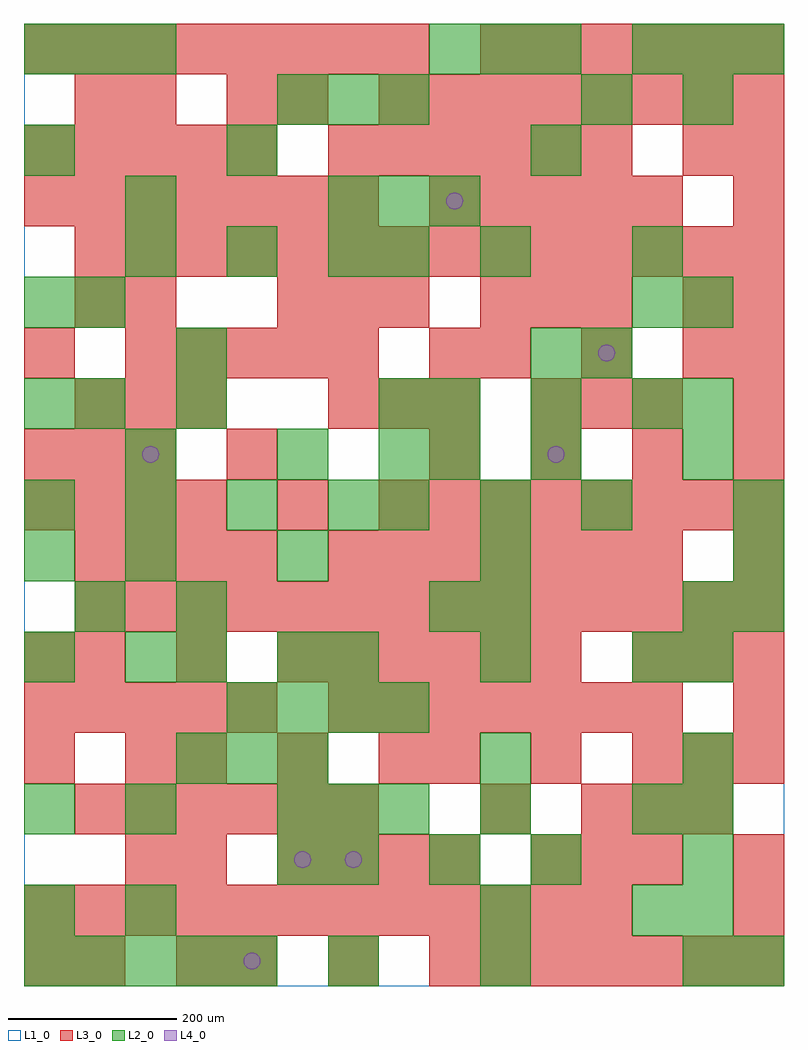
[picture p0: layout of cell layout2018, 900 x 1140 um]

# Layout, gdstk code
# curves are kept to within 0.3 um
import gdstk
lib = gdstk.Library(unit=1e-6, precision=1e-09)
def R(c, l, rs):  # rectangles x0, y0, x1, y1
    for r in rs: c.add(gdstk.rectangle(r[:2], r[2:], *l))
def A(c, l, x, y, w, h, nx, ny, dx, dy):  # array of equal rectangles
    R(c, l, [(x+i*dx, y+j*dy, x+i*dx+w, y+j*dy+h) for i in range(nx) for j in range(ny)])
def P(c, l, *ps):  # polygons
    for p in ps: c.add(gdstk.Polygon(p, *l))
L1_0 = (1, 0)
L2_0 = (2, 0)
L3_0 = (3, 0)
L4_0 = (4, 0)

layout2018 = lib.new_cell('layout2018')
R(layout2018, L1_0, [(0,0,900,1140)])
A(layout2018, L2_0, 0, 0, 60, 60, 5, 1, 60, 0)
A(layout2018, L2_0, 780, 0, 60, 60, 1, 5, 0, 60)
A(layout2018, L2_0, 360, 120, 60, 60, 3, 1, 120, 0)
A(layout2018, L2_0, 300, 180, 60, 60, 3, 2, 60, 840)
A(layout2018, L2_0, 180, 240, 60, 60, 3, 1, 60, 0)
A(layout2018, L2_0, 240, 300, 60, 60, 4, 1, 60, 0)
A(layout2018, L2_0, 120, 360, 60, 60, 1, 3, 0, 120)
A(layout2018, L2_0, 300, 360, 60, 60, 1, 3, 0, 120)
A(layout2018, L2_0, 360, 360, 60, 60, 3, 1, 180, 0)
A(layout2018, L2_0, 840, 420, 60, 60, 1, 3, 0, 60)
A(layout2018, L2_0, 0, 540, 60, 60, 4, 1, 120, 0)
A(layout2018, L2_0, 420, 540, 60, 60, 3, 1, 120, 0)
A(layout2018, L2_0, 480, 660, 60, 60, 3, 1, 120, 0)
A(layout2018, L2_0, 120, 840, 60, 60, 3, 1, 120, 0)
A(layout2018, L2_0, 360, 900, 60, 60, 3, 1, 60, 0)
A(layout2018, L2_0, 0, 1080, 60, 60, 3, 1, 60, 0)
A(layout2018, L2_0, 480, 1080, 60, 60, 3, 1, 60, 0)
A(layout2018, L2_0, 720, 1080, 60, 60, 3, 1, 60, 0)
R(layout2018, L2_0, [(360,0,420,60), (540,0,600,60), (840,0,900,60), (0,60,60,120), (120,60,180,120), (540,60,600,120), (720,60,780,120), (300,120,360,180), (0,180,60,240), (120,180,180,240), (540,180,600,240), (720,180,780,240), (540,240,600,300), (0,360,60,420), (180,360,240,420), (780,360,840,420), (60,420,120,480), (180,420,240,480), (480,420,540,480), (540,420,600,480), (780,420,840,480), (0,480,60,540), (540,480,600,540), (420,600,480,660), (480,600,540,660), (600,600,660,660), (780,600,840,660), (0,660,60,720), (60,660,120,720), (180,660,240,720), (420,660,480,720), (780,660,840,720), (180,720,240,780), (600,720,660,780), (660,720,720,780), (0,780,60,840), (60,780,120,840), (720,780,780,840), (780,780,840,840), (420,840,480,900), (540,840,600,900), (720,840,780,900), (120,900,180,960), (0,960,60,1020), (240,960,300,1020), (600,960,660,1020), (660,1020,720,1080), (780,1020,840,1080)])
A(layout2018, L3_0, 240, 0, 60, 60, 3, 1, 120, 0)
A(layout2018, L3_0, 540, 0, 60, 60, 6, 2, 60, 1080)
A(layout2018, L3_0, 0, 60, 60, 60, 12, 1, 60, 0)
A(layout2018, L3_0, 300, 120, 60, 60, 4, 1, 60, 0)
A(layout2018, L3_0, 600, 120, 60, 60, 3, 2, 60, 540)
A(layout2018, L3_0, 60, 180, 60, 60, 6, 1, 60, 0)
A(layout2018, L3_0, 660, 180, 60, 60, 3, 1, 60, 0)
A(layout2018, L3_0, 180, 240, 60, 60, 3, 1, 120, 0)
A(layout2018, L3_0, 480, 240, 60, 60, 3, 1, 120, 0)
A(layout2018, L3_0, 0, 300, 60, 60, 5, 2, 60, 660)
A(layout2018, L3_0, 360, 300, 60, 60, 7, 2, 60, 180)
A(layout2018, L3_0, 840, 300, 60, 60, 1, 3, 0, 180)
A(layout2018, L3_0, 60, 360, 60, 60, 3, 1, 120, 0)
A(layout2018, L3_0, 360, 360, 60, 60, 5, 1, 60, 0)
A(layout2018, L3_0, 720, 360, 60, 60, 3, 1, 60, 0)
A(layout2018, L3_0, 60, 420, 60, 60, 14, 2, 60, 420)
A(layout2018, L3_0, 60, 480, 60, 60, 4, 1, 60, 0)
A(layout2018, L3_0, 0, 540, 60, 60, 4, 1, 60, 0)
A(layout2018, L3_0, 420, 540, 60, 60, 8, 2, 60, 480)
A(layout2018, L3_0, 0, 600, 60, 60, 3, 1, 60, 0)
A(layout2018, L3_0, 480, 600, 60, 60, 4, 1, 120, 0)
A(layout2018, L3_0, 60, 660, 60, 60, 3, 1, 60, 0)
A(layout2018, L3_0, 360, 660, 60, 60, 3, 1, 60, 0)
A(layout2018, L3_0, 120, 720, 60, 60, 5, 1, 60, 0)
A(layout2018, L3_0, 540, 720, 60, 60, 3, 1, 120, 0)
A(layout2018, L3_0, 300, 780, 60, 60, 3, 1, 60, 0)
A(layout2018, L3_0, 540, 780, 60, 60, 3, 1, 60, 0)
A(layout2018, L3_0, 0, 900, 60, 60, 7, 1, 60, 0)
A(layout2018, L3_0, 480, 900, 60, 60, 5, 1, 60, 0)
A(layout2018, L3_0, 360, 960, 60, 60, 6, 1, 60, 0)
A(layout2018, L3_0, 0, 1080, 60, 60, 8, 1, 60, 0)
R(layout2018, L3_0, [(0,0,60,60), (60,0,120,60), (180,0,240,60), (840,60,900,120), (120,120,180,180), (180,120,240,180), (840,120,900,180), (540,180,600,240), (0,240,60,300), (120,240,180,300), (780,240,840,300), (840,240,900,300), (0,360,60,420), (300,540,360,600), (240,600,300,660), (0,720,60,780), (480,720,540,780), (840,720,900,780), (60,780,120,840), (120,780,180,840), (780,780,840,840), (840,780,900,840), (840,900,900,960), (780,960,840,1020), (840,960,900,1020), (60,1020,120,1080), (120,1020,180,1080), (240,1020,300,1080), (300,1020,360,1080)])
P(layout2018, L4_0, [(160,630),(159.239,633.827),(157.071,637.071),(153.827,639.239),(150,640),(146.173,639.239),(142.929,637.071),(140.761,633.827),(140,630),(140.761,626.173),(142.929,622.929),(146.173,620.761),(150,620),(153.827,620.761),(157.071,622.929),(159.239,626.173)],
  [(280,30),(279.239,33.827),(277.071,37.071),(273.827,39.239),(270,40),(266.173,39.239),(262.929,37.071),(260.761,33.827),(260,30),(260.761,26.173),(262.929,22.929),(266.173,20.761),(270,20),(273.827,20.761),(277.071,22.929),(279.239,26.173)],
  [(340,150),(339.239,153.827),(337.071,157.071),(333.827,159.239),(330,160),(326.173,159.239),(322.929,157.071),(320.761,153.827),(320,150),(320.761,146.173),(322.929,142.929),(326.173,140.761),(330,140),(333.827,140.761),(337.071,142.929),(339.239,146.173)],
  [(400,150),(399.239,153.827),(397.071,157.071),(393.827,159.239),(390,160),(386.173,159.239),(382.929,157.071),(380.761,153.827),(380,150),(380.761,146.173),(382.929,142.929),(386.173,140.761),(390,140),(393.827,140.761),(397.071,142.929),(399.239,146.173)],
  [(520,930),(519.239,933.827),(517.071,937.071),(513.827,939.239),(510,940),(506.173,939.239),(502.929,937.071),(500.761,933.827),(500,930),(500.761,926.173),(502.929,922.929),(506.173,920.761),(510,920),(513.827,920.761),(517.071,922.929),(519.239,926.173)],
  [(640,630),(639.239,633.827),(637.071,637.071),(633.827,639.239),(630,640),(626.173,639.239),(622.929,637.071),(620.761,633.827),(620,630),(620.761,626.173),(622.929,622.929),(626.173,620.761),(630,620),(633.827,620.761),(637.071,622.929),(639.239,626.173)],
  [(700,750),(699.239,753.827),(697.071,757.071),(693.827,759.239),(690,760),(686.173,759.239),(682.929,757.071),(680.761,753.827),(680,750),(680.761,746.173),(682.929,742.929),(686.173,740.761),(690,740),(693.827,740.761),(697.071,742.929),(699.239,746.173)])

lib.write_gds('layout2018.gds')
